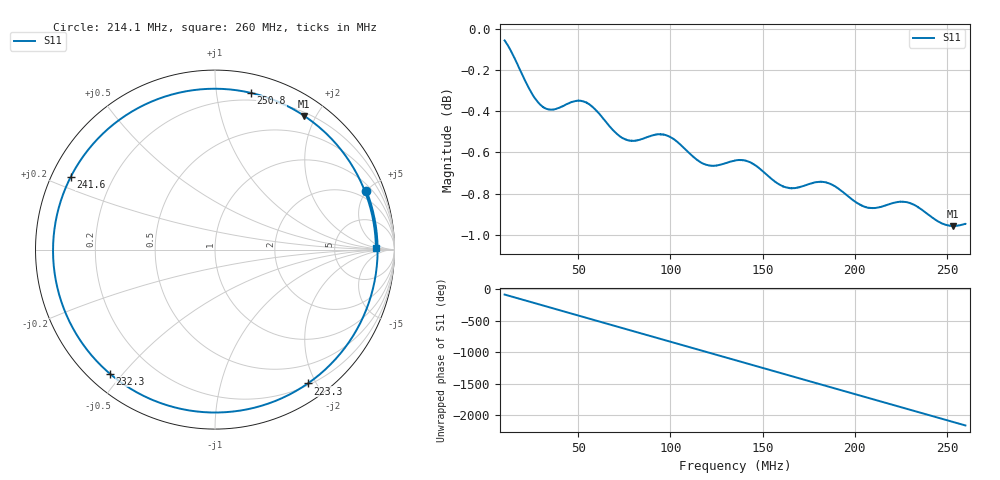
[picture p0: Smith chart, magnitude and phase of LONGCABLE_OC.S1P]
!Agilent Technologies,E5071C,MY46214392,A.11.36
!Date: Tue Jun 16 12:14:27 2026
!Data & Calibration Information:
!Freq	S11:SOLT1(ON)
!PortZ  Port1:50+j0
!Above PortZ is port z conversion or system Z0 setting when saving the data.
!When reading, reference impedance value at option line is always used.
# Hz S RI R 50
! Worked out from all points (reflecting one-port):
!   1601 points, 10 MHz to 260 MHz, reference 50 ohm
!   lowest |S11| = -1.0 dB at 253.3 MHz (marker M1), VSWR 18.15, Z = 12.2 + j92.2 ohm
!   phase of S11 starts at -83 deg and turns -2076 deg over the sweep
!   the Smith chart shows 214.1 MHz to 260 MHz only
!   S11 on the Smith chart (normalised r, x): 214.1 MHz: 1.36, +4.95; 223.3 MHz: 0.22, -1.89; 232.3 MHz: 0.06, -0.46; 241.6 MHz: 0.06, +0.24; 250.8 MHz: 0.14, +1.25; 260 MHz: 18, +2
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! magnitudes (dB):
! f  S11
! 10 MHz  -0.1
! 13.59 MHz  -0.1
! 23.59 MHz  -0.3
! 28.28 MHz  -0.4
! 33.91 MHz  -0.4
! 41.25 MHz  -0.4
! 48.75 MHz  -0.4
! 54.69 MHz  -0.4
! 72.5 MHz  -0.5
! 79.84 MHz  -0.5
! 95.47 MHz  -0.5
! 103.8 MHz  -0.5
! 119.2 MHz  -0.7
! 135 MHz  -0.6
! 143.3 MHz  -0.6
! 158.8 MHz  -0.8
! 166.2 MHz  -0.8
! 183.8 MHz  -0.7
! 197.5 MHz  -0.8
! 205.9 MHz  -0.9
! 214.1 MHz  -0.9
! 223.3 MHz  -0.8
! 228.8 MHz  -0.8
! 232.3 MHz  -0.9
! 241.6 MHz  -0.9
! 250.8 MHz  -1.0
! 253.3 MHz  -1.0
! 260 MHz  -0.9
